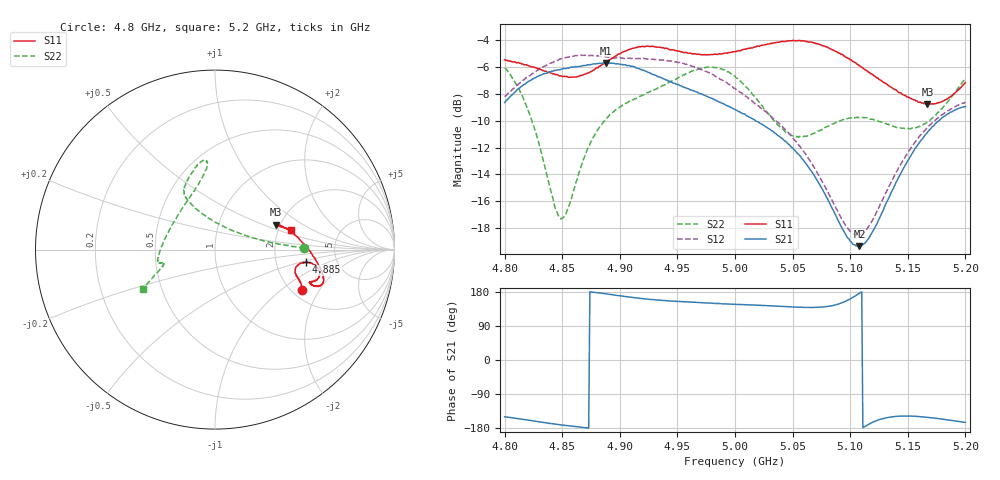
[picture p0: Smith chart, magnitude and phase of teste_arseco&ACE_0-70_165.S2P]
! Network Analyzer HP8722D
! Hewlett-Packard
! Data name: Linha & Wilkinson
! Saver's name: Rodrigo Anjos
! Comments: Teste da utilização de aquisição
! continua pelo VNA HP8722D
! Time and date: 8/5/2025 14:08
!  Frequency  S11  S21  S12  S22
# HZ  S  MA R 50
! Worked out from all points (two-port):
!   401 points, 4.8 GHz to 5.2 GHz, reference 50 ohm
!   highest |S21| = -5.68 dB at 4.888 GHz (marker M1); lowest = -19.4 dB at 5.108 GHz (marker M2)
!   |S21| within 3 dB of the highest: start of sweep to 4.988 GHz
!   lowest |S11| = -8.7 dB at 5.167 GHz (marker M3), VSWR 2.15, Z = 94.7 + j30.4 ohm
!   |S11| at or under -10 dB: nowhere
!   |S22| runs from -17.3 to -6.0 dB; largest |S21 - S12| = 1.1
!   S11 on the Smith chart (normalised r, x): 4.8 GHz: 2.24, -1.43; 4.885 GHz: 2.99, -0.57; 5.2 GHz: 2.35, +0.64
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4.8e9  0.5341 -25.2  0.3699 -149.9  0.3894 9.0  0.4979 1.0
4.811e9  0.5208 -22.6  0.4135 -154.4  0.43 7.7  0.426 2.6
4.821e9  0.5075 -20.9  0.4444 -159.0  0.4634 6.2  0.3404 6.0
4.847e9  0.4666 -16.5  0.4901 -170.3  0.5344 2.2  0.1391 53.9
4.854e9  0.463 -14.8  0.4961 -173.1  0.5452 0.9  0.1456 82.3
4.867e9  0.4669 -10.9  0.5062 -177.8  0.5547 -0.9  0.2173 110.5
4.885e9  0.5137 -7.9  0.5202 176.0  0.549 -2.1  0.31 118.7
4.888e9  0.5234 -7.9  0.5203 174.6  0.5473 -2.3  0.3205 118.9
4.912e9  0.5899 -11.1  0.5037 164.6  0.5392 -1.4  0.3794 117.2
4.934e9  0.5954 -16.1  0.4609 157.8  0.5354 -2.5  0.4214 110.9
4.974e9  0.5587 -19.0  0.3932 150.6  0.4838 -6.0  0.4994 98.0
5e9  0.5733 -20.0  0.3483 146.9  0.4179 -6.1  0.4635 95.6
5.044e9  0.6262 -17.9  0.2649 140.9  0.2918 2.2  0.2872 131.8
5.067e9  0.6205 -13.7  0.2032 138.7  0.2185 9.1  0.2823 165.0
5.096e9  0.5466 -3.8  0.1192 155.2  0.1287 35.6  0.3213 -172.0
5.108e9  0.5082 2.0  0.1077 176.3  0.1185 59.0  0.3257 -168.2
5.118e9  0.4733 6.9  0.1191 -166.5  0.1315 77.8  0.3208 -166.9
5.134e9  0.4264 14.8  0.165 -151.0  0.1812 94.6  0.305 -166.1
5.151e9  0.3866 20.5  0.2283 -148.0  0.2448 100.3  0.296 -164.8
5.167e9  0.3655 22.4  0.2861 -151.3  0.2986 101.4  0.3141 -161.5
5.183e9  0.3795 20.1  0.3315 -157.4  0.3409 101.4  0.3653 -157.2
5.2e9  0.4386 14.6  0.3576 -164.8  0.3715 101.8  0.4543 -151.3
